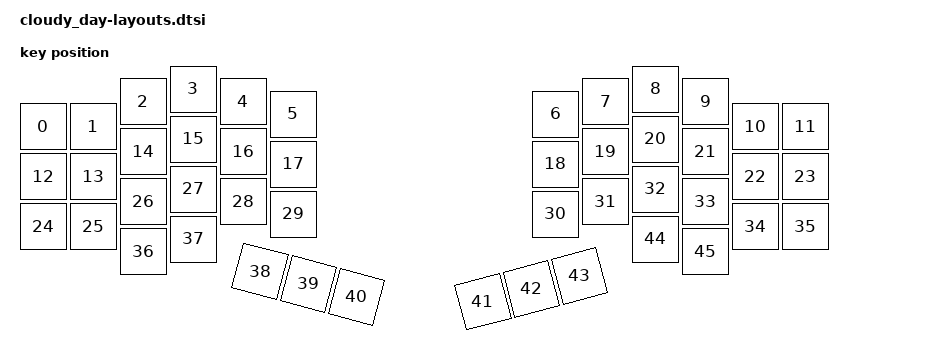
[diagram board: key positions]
#include <physical_layouts.dtsi>

/ {
    physical_layout_cloudy_day: physical_layout_cloudy_day {
        compatible = "zmk,physical-layout";
        display-name = "cloudy_day";
        keys  //                     w   h    x    y     rot    rx    ry
            = <&key_physical_attrs 100 100    0   75       0     0     0>
            , <&key_physical_attrs 100 100  100   75       0     0     0>
            , <&key_physical_attrs 100 100  200   25       0     0     0>
            , <&key_physical_attrs 100 100  300    0       0     0     0>
            , <&key_physical_attrs 100 100  400   25       0     0     0>
            , <&key_physical_attrs 100 100  500   50       0     0     0>
            , <&key_physical_attrs 100 100 1025   50       0     0     0>
            , <&key_physical_attrs 100 100 1125   25       0     0     0>
            , <&key_physical_attrs 100 100 1225    0       0     0     0>
            , <&key_physical_attrs 100 100 1325   25       0     0     0>
            , <&key_physical_attrs 100 100 1425   75       0     0     0>
            , <&key_physical_attrs 100 100 1525   75       0     0     0>
            , <&key_physical_attrs 100 100    0  175       0     0     0>
            , <&key_physical_attrs 100 100  100  175       0     0     0>
            , <&key_physical_attrs 100 100  200  125       0     0     0>
            , <&key_physical_attrs 100 100  300  100       0     0     0>
            , <&key_physical_attrs 100 100  400  125       0     0     0>
            , <&key_physical_attrs 100 100  500  150       0     0     0>
            , <&key_physical_attrs 100 100 1025  150       0     0     0>
            , <&key_physical_attrs 100 100 1125  125       0     0     0>
            , <&key_physical_attrs 100 100 1225  100       0     0     0>
            , <&key_physical_attrs 100 100 1325  125       0     0     0>
            , <&key_physical_attrs 100 100 1425  175       0     0     0>
            , <&key_physical_attrs 100 100 1525  175       0     0     0>
            , <&key_physical_attrs 100 100    0  275       0     0     0>
            , <&key_physical_attrs 100 100  100  275       0     0     0>
            , <&key_physical_attrs 100 100  200  225       0     0     0>
            , <&key_physical_attrs 100 100  300  200       0     0     0>
            , <&key_physical_attrs 100 100  400  225       0     0     0>
            , <&key_physical_attrs 100 100  500  250       0     0     0>
            , <&key_physical_attrs 100 100 1025  250       0     0     0>
            , <&key_physical_attrs 100 100 1125  225       0     0     0>
            , <&key_physical_attrs 100 100 1225  200       0     0     0>
            , <&key_physical_attrs 100 100 1325  225       0     0     0>
            , <&key_physical_attrs 100 100 1425  275       0     0     0>
            , <&key_physical_attrs 100 100 1525  275       0     0     0>
            , <&key_physical_attrs 100 100  200  325       0     0     0>
            , <&key_physical_attrs 100 100  300  300       0     0     0>
            , <&key_physical_attrs 100 100  525  225    1500     0     0>
            , <&key_physical_attrs 100 100  625  225    1500     0     0>
            , <&key_physical_attrs 100 100  725  225    1500     0     0>
            , <&key_physical_attrs 100 100  725  650 (-1500)     0     0>
            , <&key_physical_attrs 100 100  825  650 (-1500)     0     0>
            , <&key_physical_attrs 100 100  925  650 (-1500)     0     0>
            , <&key_physical_attrs 100 100 1225  300       0     0     0>
            , <&key_physical_attrs 100 100 1325  325       0     0     0>
            ;
    };
};
